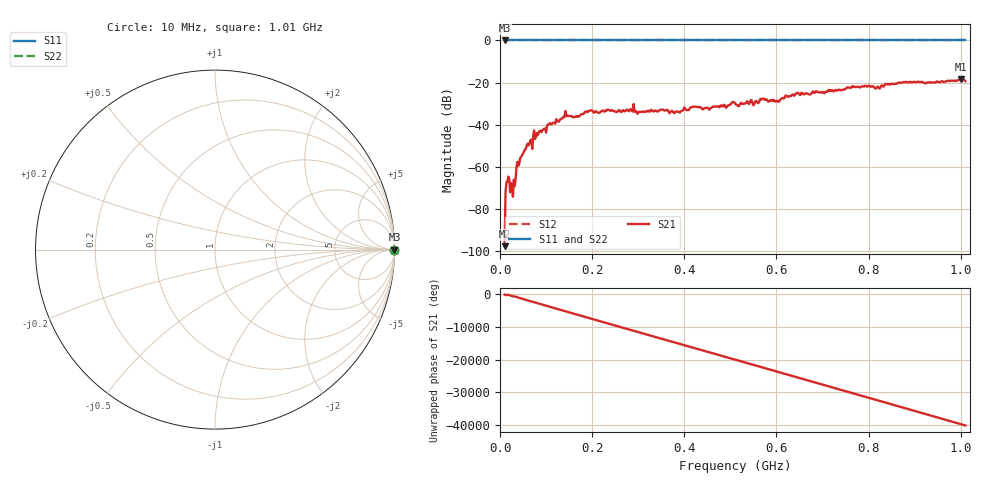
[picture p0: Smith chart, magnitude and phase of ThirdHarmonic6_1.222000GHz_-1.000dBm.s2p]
! 8/16/2025 12:50:02 PM
! C:\ANRITSUVNA\TEMP\TEMP.S2P
! CHANNEL.1
! TR.MEASUREMENT
! RAW.DATA
! RF.CORRECTION.OFF
! AVERAGING.OFF
! IF.BANDWIDTH: 5KHZ
! SWEEPTYPE:  FREQ.SWEEP(Linear)
! Reference Plane Port Info
! PORT:  PORT1  PORT2
! DISTANCE:  0  m  0  m
! TIME:  0  s  0  s
! PHASE.OFFSET:  0  deg.  0  deg.
! LOSS:  0  dB  0  dB
! REF.LOSS:  0  dB  0  dB
! REF.FREQ:  0  Hz  0  Hz
! Power Info
! POWER:  -20  dBm  -20  dBm
! EFF.POWER:  -20  dBm  -20  dBm
! SOURCE.ATTEN:  0  dB  0  dB
! TEST.ATTEN:  0  dB  0  dB
# GHZ S RI R 50.0
! FREQ.GHZ  S11RE  S11IM  S21RE  S21IM  S12RE  S12IM  S22RE  S22IM
!; PortSelection: Port_12
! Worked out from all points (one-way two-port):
!   501 points, 10 MHz to 1.01 GHz, reference 50 ohm
!   highest |S21| = -18.39 dB at 1 GHz (marker M1); lowest = -97.6 dB at 10 MHz (marker M2)
!   lowest |S11| = 0.0 dB at 10 MHz (marker M3)
!   |S11| at or under -10 dB: nowhere
!   |S22| runs from 0.0 to 0.0 dB; largest |S21 - S12| = 1.1
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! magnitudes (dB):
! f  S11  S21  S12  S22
! 10 MHz  0.0  -97.6  0.0  0.0
! 16 MHz  0.0  -66.9  0.0  0.0
! 22 MHz  0.0  -72.0  0.0  0.0
! 24 MHz  0.0  -67.6  0.0  0.0
! 30 MHz  0.0  -66.0  0.0  0.0
! 40 MHz  0.0  -59.4  0.0  0.0
! 56 MHz  0.0  -51.5  0.0  0.0
! 76 MHz  0.0  -46.7  0.0  0.0
! 142 MHz  0.0  -33.4  0.0  0.0
! 178 MHz  0.0  -34.9  0.0  0.0
! 196 MHz  0.0  -33.2  0.0  0.0
! 344 MHz  0.0  -33.6  0.0  0.0
! 380 MHz  0.0  -34.1  0.0  0.0
! 510 MHz  0.0  -29.6  0.0  0.0
! 552 MHz  0.0  -30.0  0.0  0.0
! 570 MHz  0.0  -27.8  0.0  0.0
! 602 MHz  0.0  -28.6  0.0  0.0
! 644 MHz  0.0  -25.0  0.0  0.0
! 678 MHz  0.0  -24.3  0.0  0.0
! 844 MHz  0.0  -20.7  0.0  0.0
! 1 GHz  0.0  -18.4  0.0  0.0
! 1.01 GHz  0.0  -19.3  0.0  0.0
